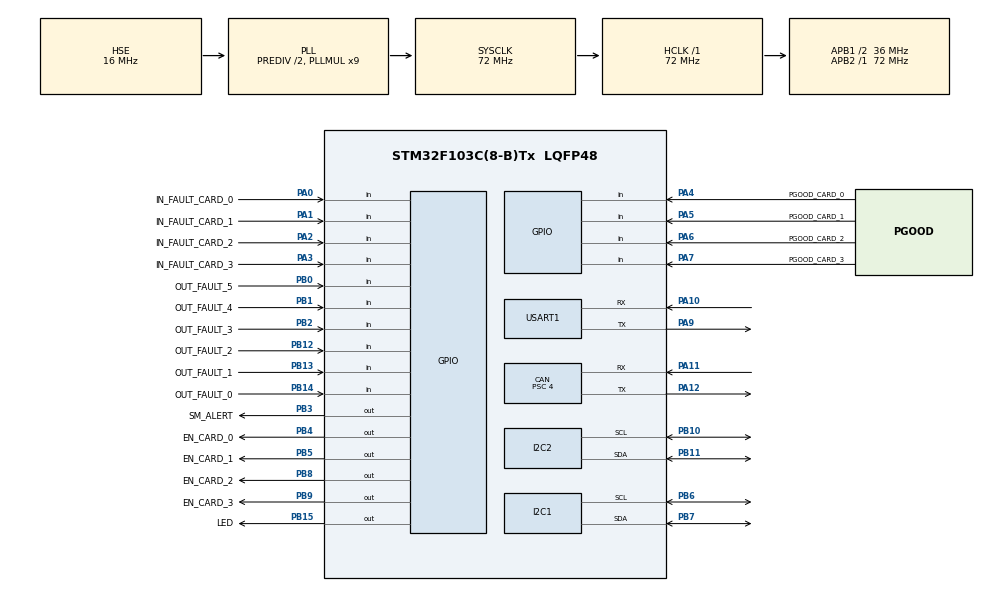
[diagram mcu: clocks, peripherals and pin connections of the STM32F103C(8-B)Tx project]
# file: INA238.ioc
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CAN.BS1=CAN_BS1_15TQ
CAN.BS2=CAN_BS2_2TQ
CAN.CalculateBaudRate=500000
CAN.CalculateTimeBit=2000
CAN.CalculateTimeQuantum=111.11111111111111
CAN.NART=ENABLE
CAN.Prescaler=4
CAN.SJW=CAN_SJW_2TQ
Mcu.Family=STM32F1
Mcu.Name=STM32F103C(8-B)Tx
Mcu.Package=LQFP48
NVIC.PriorityGroup=NVIC_PRIORITYGROUP_4
PA0-WKUP.GPIO_Label=IN_FAULT_CARD_0
PA0-WKUP.Signal=GPIO_Input
PA1.GPIO_Label=IN_FAULT_CARD_1
PA1.Signal=GPIO_Input
PA10.Mode=Asynchronous
PA10.Signal=USART1_RX
PA11.Mode=CAN_Activate
PA11.Signal=CAN_RX
PA12.Mode=CAN_Activate
PA12.Signal=CAN_TX
PA13.Mode=Serial_Wire
PA13.Signal=SYS_JTMS-SWDIO
PA14.Mode=Serial_Wire
PA14.Signal=SYS_JTCK-SWCLK
PA2.GPIO_Label=IN_FAULT_CARD_2
PA2.Signal=GPIO_Input
PA3.GPIO_Label=IN_FAULT_CARD_3
PA3.Signal=GPIO_Input
PA4.GPIO_Label=PGOOD_CARD_0
PA4.Signal=GPIO_Input
PA5.GPIO_Label=PGOOD_CARD_1
PA5.Signal=GPIO_Input
PA6.GPIO_Label=PGOOD_CARD_2
PA6.Signal=GPIO_Input
PA7.GPIO_Label=PGOOD_CARD_3
PA7.Signal=GPIO_Input
PA9.Mode=Asynchronous
PA9.Signal=USART1_TX
PB0.GPIO_Label=OUT_FAULT_5
PB0.Signal=GPIO_Input
PB1.GPIO_Label=OUT_FAULT_4
PB1.Signal=GPIO_Input
PB10.Mode=I2C
PB10.Signal=I2C2_SCL
PB11.Mode=I2C
PB11.Signal=I2C2_SDA
PB12.GPIO_Label=OUT_FAULT_2
PB12.Signal=GPIO_Input
PB13.GPIO_Label=OUT_FAULT_1
PB13.Signal=GPIO_Input
PB14.GPIO_Label=OUT_FAULT_0
PB14.Signal=GPIO_Input
PB15.GPIO_Label=LED
PB15.Signal=GPIO_Output
PB2.GPIO_Label=OUT_FAULT_3
PB2.Signal=GPIO_Input
PB3.GPIO_Label=SM_ALERT
PB3.Signal=GPIO_Output
PB4.GPIO_Label=EN_CARD_0
PB4.Signal=GPIO_Output
PB5.GPIO_Label=EN_CARD_1
PB5.Signal=GPIO_Output
PB6.Mode=I2C
PB6.Signal=I2C1_SCL
PB7.Mode=I2C
PB7.Signal=I2C1_SDA
PB8.GPIO_Label=EN_CARD_2
PB8.Signal=GPIO_Output
PB9.GPIO_Label=EN_CARD_3
PB9.Signal=GPIO_Output
PD0-OSC_IN.Mode=HSE-External-Oscillator
PD0-OSC_IN.Signal=RCC_OSC_IN
PD1-OSC_OUT.Mode=HSE-External-Oscillator
PD1-OSC_OUT.Signal=RCC_OSC_OUT
ProjectManager.HeapSize=0x200
ProjectManager.StackSize=0x400
ProjectManager.TargetToolchain=STM32CubeIDE
RCC.AHBFreq_Value=72000000
RCC.APB1CLKDivider=RCC_HCLK_DIV2
RCC.APB1Freq_Value=36000000
RCC.APB1TimFreq_Value=72000000
RCC.APB2Freq_Value=72000000
RCC.APB2TimFreq_Value=72000000
RCC.HCLKFreq_Value=72000000
RCC.HSEDivPLL=RCC_HSE_PREDIV_DIV2
RCC.HSE_VALUE=16000000
RCC.PLLMUL=RCC_PLL_MUL9
RCC.PLLSourceVirtual=RCC_PLLSOURCE_HSE
RCC.SYSCLKFreq_VALUE=72000000
RCC.SYSCLKSource=RCC_SYSCLKSOURCE_PLLCLK
RCC.USBFreq_Value=72000000
USART1.VirtualMode=VM_ASYNC
board=custom

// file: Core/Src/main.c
/* USER CODE BEGIN Header */
/**
  ******************************************************************************
  * @file           : main.c
  * @brief          : Main program body
  ******************************************************************************
  * @attention
  *
  * Copyright (c) 2024 STMicroelectronics.
  * All rights reserved.
  *
  * This software is licensed under terms that can be found in the LICENSE file
  * in the root directory of this software component.
  * If no LICENSE file comes with this software, it is provided AS-IS.
  *
  ******************************************************************************
  */
/* USER CODE END Header */
#include "main.h"
#include "can.h"
#include "i2c.h"
#include "usart.h"
#include "gpio.h"
#include "stm32f1xx_ina238.h"

/* USER CODE BEGIN Includes */
#include "ina238.h"
/* USER CODE END Includes */

void SystemClock_Config(void);

int main(void)
{

  /* MCU Configuration--------------------------------------------------------*/

  /* Reset of all peripherals, Initializes the Flash interface and the Systick. */
  HAL_Init();

  /* Configure the system clock */
  SystemClock_Config();

  /* Initialize all configured peripherals */
  MX_GPIO_Init();
  MX_CAN_Init();
  MX_I2C1_Init();
  MX_I2C2_Init();
  MX_USART1_UART_Init();
  /* USER CODE BEGIN 2 */
  MX_INA_238_Init();

  HAL_GPIO_WritePin(GPIOB, GPIO_PIN_4|GPIO_PIN_5|GPIO_PIN_8
                          |GPIO_PIN_9, GPIO_PIN_SET); //ENABLE CARDS

	//set card

	uint8_t register_write_buffer = 0b00000100 | 0;
  HAL_I2C_Master_Transmit(&hi2c2, (0b11100000), &register_write_buffer, 1, 1000);

  INA_238_WriteConfig(&ina238_card0_a);
  INA_238_WriteConfig(&ina238_card0_b);

  /* USER CODE END 2 */

  /* Infinite loop */
  /* USER CODE BEGIN WHILE */
  while (1)
  {

    double value;

    INA_238_ReadVoltage(&ina238_card0_a);

    value = ina238_card0_a.voltage;

		//fetch value from driver here

		MX_CAN_Broadcast_Double_Data(&viper_can, value, 0x1);
    /* USER CODE END WHILE */

    /* USER CODE BEGIN 3 */

	  HAL_GPIO_WritePin(LED_GPIO_Port, LED_Pin, GPIO_PIN_SET);

	  HAL_Delay(500);

	  HAL_GPIO_WritePin(LED_GPIO_Port, LED_Pin, GPIO_PIN_RESET);

	  HAL_Delay(500);

  }
  /* USER CODE END 3 */
}

void SystemClock_Config(void)
{
  RCC_OscInitTypeDef RCC_OscInitStruct = {0};
  RCC_ClkInitTypeDef RCC_ClkInitStruct = {0};

  /** Initializes the RCC Oscillators according to the specified parameters
  * in the RCC_OscInitTypeDef structure.
  */
  RCC_OscInitStruct.OscillatorType = RCC_OSCILLATORTYPE_HSE;
  RCC_OscInitStruct.HSEState = RCC_HSE_ON;
  RCC_OscInitStruct.HSEPredivValue = RCC_HSE_PREDIV_DIV2;
  RCC_OscInitStruct.HSIState = RCC_HSI_ON;
  RCC_OscInitStruct.PLL.PLLState = RCC_PLL_ON;
  RCC_OscInitStruct.PLL.PLLSource = RCC_PLLSOURCE_HSE;
  RCC_OscInitStruct.PLL.PLLMUL = RCC_PLL_MUL9;
  if (HAL_RCC_OscConfig(&RCC_OscInitStruct) != HAL_OK)
  {
    Error_Handler();
  }

  /** Initializes the CPU, AHB and APB buses clocks
  */
  RCC_ClkInitStruct.ClockType = RCC_CLOCKTYPE_HCLK|RCC_CLOCKTYPE_SYSCLK
                              |RCC_CLOCKTYPE_PCLK1|RCC_CLOCKTYPE_PCLK2;
  RCC_ClkInitStruct.SYSCLKSource = RCC_SYSCLKSOURCE_PLLCLK;
  RCC_ClkInitStruct.AHBCLKDivider = RCC_SYSCLK_DIV1;
  RCC_ClkInitStruct.APB1CLKDivider = RCC_HCLK_DIV2;
  RCC_ClkInitStruct.APB2CLKDivider = RCC_HCLK_DIV1;

  if (HAL_RCC_ClockConfig(&RCC_ClkInitStruct, FLASH_LATENCY_2) != HAL_OK)
  {
    Error_Handler();
  }
}

void Error_Handler(void)
{
  __disable_irq();
  while (1)
  {
  }
}
